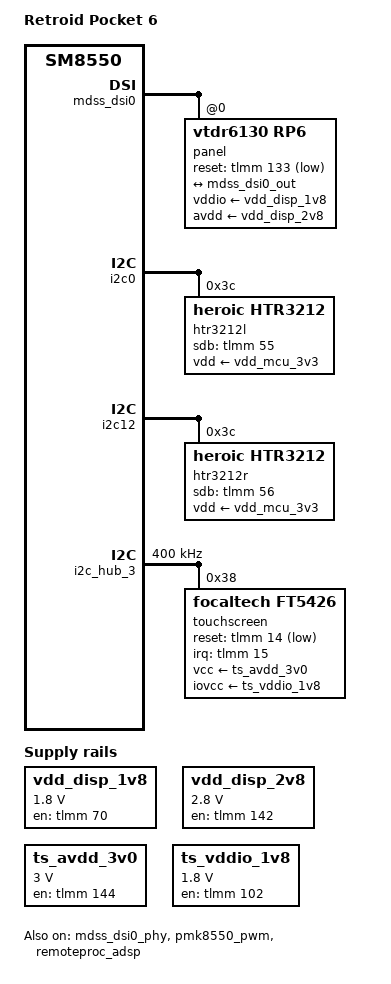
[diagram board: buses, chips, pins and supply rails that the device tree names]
// SPDX-License-Identifier: BSD-3-Clause
/*
 * Copyright (C) 2026-present ROCKNIX (https://github.com/ROCKNIX).
 */

/dts-v1/;

#include "qcs8550-ayn-common.dtsi"

/ {
	model = "Retroid Pocket 6";
	compatible = "retroidpocket,rp6", "qcom,qcs8550", "qcom,sm8550";
	qcom,board-id = <0x1001f 0x00>;
	qcom,msm-id = <0x25b 0x20000>;

	/*
	 * Off: the Odin 2's LCD backlight, carried over from its tree. The RP6's OLED
	 * dims through DCS on the panel's own backlight device (ae94000.dsi.0, the one
	 * Steam drives); this PWM device sat powered off, a second "backlight" a
	 * desktop could pick instead. The Nova turns it off the same way.
	 */
	backlight: backlight {
		compatible = "pwm-backlight";
		pwms = <&pmk8550_pwm 0 860000>;
		brightness-levels = <1023 0>;
		num-interpolated-steps = <1023>;
		default-brightness-level = <600>;
		power-supply = <&vph_pwr>;
		enable-gpios = <&pmk8550_gpios 5 GPIO_ACTIVE_HIGH>;
		pinctrl-names = "default";
		pinctrl-0 = <&pwm_backlight_default>;
		status = "disabled";
	};

	vdd_disp_1v8: vdd-disp-1v8-regulator {
		compatible = "regulator-fixed";
		regulator-name = "vdd_disp_1v8";

		regulator-min-microvolt = <1800000>;
		regulator-max-microvolt = <1800000>;

		gpio = <&tlmm 70 GPIO_ACTIVE_HIGH>;
		enable-active-high;
	};

	vdd_disp_2v8: vdd-disp-2v8-regulator {
		compatible = "regulator-fixed";
		regulator-name = "vdd_disp_2v8";

		regulator-min-microvolt = <2800000>;
		regulator-max-microvolt = <2800000>;

		gpio = <&tlmm 142 GPIO_ACTIVE_HIGH>;
		enable-active-high;
	};

	ts_avdd_3v0: regulator-ts-avdd-3v0 {
		compatible = "regulator-fixed";
		regulator-name = "ts_avdd_3v0";

		regulator-min-microvolt = <3000000>;
		regulator-max-microvolt = <3000000>;

		gpio = <&tlmm 144 GPIO_ACTIVE_HIGH>;
		enable-active-high;
	};

	ts_vddio_1v8: regulator-ts-vddio-1v8 {
		compatible = "regulator-fixed";
		regulator-name = "ts_vddio_1v8";

		regulator-min-microvolt = <1800000>;
		regulator-max-microvolt = <1800000>;

		gpio = <&tlmm 102 GPIO_ACTIVE_HIGH>;
		enable-active-high;
	};

	multi-ledr1 {
		compatible = "leds-group-multicolor";
		color = <LED_COLOR_ID_RGB>;
		function = "r1";
		leds = <&ledr_r4>, <&ledr_g4>, <&ledr_b4>;
	};

	multi-ledl1 {
		compatible = "leds-group-multicolor";
		color = <LED_COLOR_ID_RGB>;
		function = "l1";
		leds = <&ledl_r4>, <&ledl_g4>, <&ledl_b4>;
	};

	multi-ledr2 {
		compatible = "leds-group-multicolor";
		color = <LED_COLOR_ID_RGB>;
		function = "r2";
		leds = <&ledr_r1>, <&ledr_g1>, <&ledr_b1>;
	};

	multi-ledl2 {
		compatible = "leds-group-multicolor";
		color = <LED_COLOR_ID_RGB>;
		function = "l2";
		leds = <&ledl_r1>, <&ledl_g1>, <&ledl_b1>;
	};

	multi-ledr3 {
		compatible = "leds-group-multicolor";
		color = <LED_COLOR_ID_RGB>;
		function = "r3";
		leds = <&ledr_r2>, <&ledr_g2>, <&ledr_b2>;
	};

	multi-ledl3 {
		compatible = "leds-group-multicolor";
		color = <LED_COLOR_ID_RGB>;
		function = "l3";
		leds = <&ledl_r2>, <&ledl_g2>, <&ledl_b2>;
	};

	multi-ledr4 {
		compatible = "leds-group-multicolor";
		color = <LED_COLOR_ID_RGB>;
		function = "r4";
		leds = <&ledr_r3>, <&ledr_g3>, <&ledr_b3>;
	};

	multi-ledl4 {
		compatible = "leds-group-multicolor";
		color = <LED_COLOR_ID_RGB>;
		function = "l4";
		leds = <&ledl_r3>, <&ledl_g3>, <&ledl_b3>;
	};
};

&gamepad {
	axis-range = <1024>;
};

&pm8550b_hv_haptics {
	/*
	 * The RP6 has an LRA (~170 Hz), not an ERM. Driving it as an ERM feeds it
	 * flat DC, so it only ticks at start and stop. Values match the stock
	 * Android overlay for this board (board-id 0x1001f).
	 */
	/delete-property/ qcom,use-erm;
	qcom,vmax-mv = <1300>;

	effect_0 {
		qcom,wf-pattern-data = <0x11f 0x00 0x00>,
				       <0x13f 0x00 0x00>,
				       <0x15f 0x00 0x00>,
				       <0x17f 0x00 0x00>,
				       <0x17f 0x00 0x00>,
				       <0x15f 0x00 0x00>,
				       <0x13f 0x00 0x00>,
				       <0x11f 0x00 0x00>;
		qcom,wf-vmax-mv = <1300>;
		qcom,wf-auto-res-disable;
	};

	effect_1 {
		qcom,wf-vmax-mv = <1300>;
		qcom,wf-auto-res-disable;
	};

	effect_2 {
		qcom,wf-vmax-mv = <1300>;
		qcom,wf-auto-res-disable;
	};

	effect_3 {
		qcom,wf-vmax-mv = <1300>;
		qcom,wf-auto-res-disable;
	};

	effect_4 {
		qcom,wf-vmax-mv = <1300>;
		qcom,wf-auto-res-disable;
	};

	effect_5 {
		qcom,wf-vmax-mv = <1300>;
		qcom,wf-auto-res-disable;
	};
};

&{/gpio-keys} {
	pinctrl-0 = <&volume_up_n>, <&paddle_keys_default>;

	key-paddle-left {
		label = "Back Paddle Left";
		debounce-interval = <15>;
		gpios = <&tlmm 57 GPIO_ACTIVE_LOW>;
		linux,code = <BTN_Z>;
	};

	key-paddle-right {
		label = "Back Paddle Right";
		debounce-interval = <15>;
		gpios = <&tlmm 58 GPIO_ACTIVE_LOW>;
		linux,code = <BTN_C>;
	};
};

&tlmm {
	paddle_keys_default: paddle-keys-default-state {
		pins = "gpio57", "gpio58";
		function = "gpio";
		bias-pull-up;
		drive-strength = <2>;
		input-enable;
	};
};

&mdss_dsi0 {
	vdda-supply = <&vreg_l3e_1p2>;
	status = "okay";

	panel@0 {
		reg = <0>;
		compatible = "vtdr6130,rp6";

		pinctrl-0 = <&dsi_p_rst_active>, <&dsi_p_te_active>;
		pinctrl-1 = <&dsi_p_rst_suspend>, <&dsi_p_te_suspend>;
		pinctrl-names = "default", "sleep";

		vddio-supply = <&vdd_disp_1v8>;
		avdd-supply = <&vdd_disp_2v8>;

		reset-gpios = <&tlmm 133 GPIO_ACTIVE_LOW>;

		rotation = <270>;

		port {
			panel0_in: endpoint {
				remote-endpoint = <&mdss_dsi0_out>;
			};
		};
	};
};

&mdss_dsi0_out {
	remote-endpoint = <&panel0_in>;
	data-lanes = <0 1 2 3>;
};

&mdss_dsi0_phy {
	vdds-supply = <&vreg_l1e_0p88>;
	status = "okay";
};

&mdss_dsi1 {
    status = "disabled";
};

&i2c0 {
	htr3212l: led-controller@3c {
		compatible = "heroic,htr3212";
		reg = <0x3c>;
		#address-cells = <1>;
		#size-cells = <0>;
		sdb-gpios = <&tlmm 55 GPIO_ACTIVE_HIGH>;
		vdd-supply = <&vdd_mcu_3v3>;

		ledl_b1: led@1 {
			reg = <1>;
			label = "l:r1";
			color = <LED_COLOR_ID_RED>;
		};
		ledl_g1: led@2 {
			reg = <2>;
			label = "l:g1";
			color = <LED_COLOR_ID_GREEN>;
		};
		ledl_r1: led@3 {
			reg = <3>;
			label = "l:b1";
			color = <LED_COLOR_ID_BLUE>;
		};
		ledl_b2: led@4 {
			reg = <4>;
			label = "l:r2";
			color = <LED_COLOR_ID_RED>;
		};
		ledl_g2: led@5 {
			reg = <5>;
			label = "l:g2";
			color = <LED_COLOR_ID_GREEN>;
		};
		ledl_r2: led@6 {
			reg = <6>;
			label = "l:b2";
			color = <LED_COLOR_ID_BLUE>;
		};
		ledl_b3: led@7 {
			reg = <7>;
			label = "l:r3";
			color = <LED_COLOR_ID_RED>;
		};
		ledl_g3: led@8 {
			reg = <8>;
			label = "l:g3";
			color = <LED_COLOR_ID_GREEN>;
		};
		ledl_r3: led@9 {
			reg = <9>;
			label = "l:b3";
			color = <LED_COLOR_ID_BLUE>;
		};
		ledl_b4: led@10 {
			reg = <10>;
			label = "l:r4";
			color = <LED_COLOR_ID_RED>;
		};
		ledl_g4: led@11 {
			reg = <11>;
			label = "l:g4";
			color = <LED_COLOR_ID_GREEN>;
		};
		ledl_r4: led@12 {
			reg = <12>;
			label = "l:b4";
			color = <LED_COLOR_ID_BLUE>;
		};
	};
};

&i2c12 {
	htr3212r: led-controller@3c {
		compatible = "heroic,htr3212";
		reg = <0x3c>;
		#address-cells = <1>;
		#size-cells = <0>;
		sdb-gpios = <&tlmm 56 GPIO_ACTIVE_HIGH>;
		vdd-supply = <&vdd_mcu_3v3>;

		ledr_b1: led@1 {
			reg = <1>;
			label = "r:r1";
			color = <LED_COLOR_ID_RED>;
		};
		ledr_g1: led@2 {
			reg = <2>;
			label = "r:g1";
			color = <LED_COLOR_ID_GREEN>;
		};
		ledr_r1: led@3 {
			reg = <3>;
			label = "r:b1";
			color = <LED_COLOR_ID_BLUE>;
		};
		ledr_b2: led@4 {
			reg = <4>;
			label = "r:r2";
			color = <LED_COLOR_ID_RED>;
		};
		ledr_g2: led@5 {
			reg = <5>;
			label = "r:g2";
			color = <LED_COLOR_ID_GREEN>;
		};
		ledr_r2: led@6 {
			reg = <6>;
			label = "r:b2";
			color = <LED_COLOR_ID_BLUE>;
		};
		ledr_b3: led@7 {
			reg = <7>;
			label = "r:r3";
			color = <LED_COLOR_ID_RED>;
		};
		ledr_g3: led@8 {
			reg = <8>;
			label = "r:g3";
			color = <LED_COLOR_ID_GREEN>;
		};
		ledr_r3: led@9 {
			reg = <9>;
			label = "r:b3";
			color = <LED_COLOR_ID_BLUE>;
		};
		ledr_b4: led@10 {
			reg = <10>;
			label = "r:r4";
			color = <LED_COLOR_ID_RED>;
		};
		ledr_g4: led@11 {
			reg = <11>;
			label = "r:g4";
			color = <LED_COLOR_ID_GREEN>;
		};
		ledr_r4: led@12 {
			reg = <12>;
			label = "r:b4";
			color = <LED_COLOR_ID_BLUE>;
		};
	};
};

&i2c_hub_3 {
	clock-frequency = <400000>;
	status = "okay";
	touchscreen@38 {
		compatible = "focaltech,ft5426";
		reg = <0x38>;
		#address-cells = <1>;
		#size-cells = <0>;

		interrupt-parent = <&tlmm>;
		interrupts = <15 IRQ_TYPE_EDGE_FALLING>;
		reset-gpios = <&tlmm 14 GPIO_ACTIVE_LOW>;

		vcc-supply = <&ts_avdd_3v0>;
		iovcc-supply = <&ts_vddio_1v8>;

		pinctrl-0 = <&ts_p_rst_default &ts_p_int_default>;
		pinctrl-1 = <&ts_p_rst_sleep &ts_p_int_sleep>;
		pinctrl-names = "default", "sleep";

		touchscreen-size-x = <1080>;
		touchscreen-size-y = <1920>;
		touchscreen-inverted-y;
	};
};

/*
 * Retroid's name for the RP6 and Nova card, with their two digital mics (DMIC3 and DMIC7 on the
 * WCD9385) routed as in Retroid's own DT. The UCM under this name (RetroidPocket/SM8550) has the
 * internal and headset mics the Odin 2 UCM lacks; the DSP topology is the Odin 2 one under this
 * name (steamling-firmware-sm8550).
 */
/ {
	sound {
		model = "SM8550-RetroidPocket-I2S";
		widgets =
				"Microphone", "Digital Mic2",
				"Microphone", "Digital Mic6";
		audio-routing =
				"IN1_HPHL", "HPHL_OUT",
				"IN2_HPHR", "HPHR_OUT",
				"AMIC2", "MIC BIAS2",
				"DMIC3", "Digital Mic2",
				"DMIC3", "MIC BIAS3",
				"DMIC7", "Digital Mic6",
				"DMIC7", "MIC BIAS4",
				"TX SWR_INPUT1", "ADC2_OUTPUT",
				"TX SWR_INPUT6", "DMIC3_OUTPUT",
				"TX SWR_INPUT10", "DMIC7_OUTPUT";
	};
};

/*
 * The RP6 touch controller sits on gpio14 (reset) and gpio15 (irq). The pin states come from
 * the AYN dtsi, where they name the Odin 2's gpio24/25, so without these the touch pins were
 * never configured and the Odin 2 pins got pulled instead. Retroid's own DT uses 14/15.
 */
&ts_p_rst_default {
	pins = "gpio14";
};

&ts_p_rst_sleep {
	pins = "gpio14";
};

&ts_p_int_default {
	pins = "gpio15";
};

&ts_p_int_sleep {
	pins = "gpio15";
};

&pmk8550_pwm {
	status = "okay";
};

&remoteproc_adsp {
	firmware-name = "qcom/sm8550/retroidpocket/rp6/adsp.mbn",
			"qcom/sm8550/retroidpocket/rp6/adsp_dtb.mbn";
	status = "okay";
};

/*
 * On the Retroid boards the left amp plays I2S channel 1 and the right amp channel 0, the
 * other way round from the AYN boards (Retroid's own DT, RP6 and Nova).
 */
&spk_amp_l {
	firmware-name = "qcom/sm8550/retroidpocket/rp6/aw883xx_acf.bin";
	awinic,audio-channel = <1>;
};

&spk_amp_r {
	firmware-name = "qcom/sm8550/retroidpocket/rp6/aw883xx_acf.bin";
	awinic,audio-channel = <0>;
};

/*
 * The 3.5mm jack's ground switch is normally closed. Without saying so, MBHC assumes the other
 * polarity and never reports a plug. Only the ground switch: marking the HPHL switch too makes
 * the plug state read backwards. The Nova and the top d-pad RP6 include this file.
 */
&wcd938x {
	qcom,ground-jack-type-normally-closed;
};
